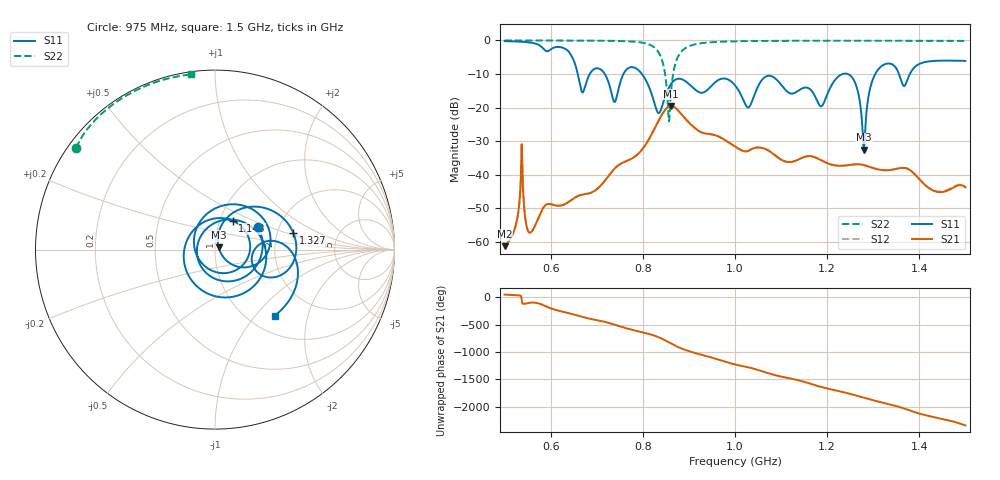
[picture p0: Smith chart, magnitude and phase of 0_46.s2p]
! TOUCHSTONE file generated by CST MICROWAVE STUDIO
! Date and time: Sat Oct 24 10:49:12 2020
! Project name: Scenario_1_Planar_Body_Tissue_Center.cst
! Parameters = {hfat=3; hmuscle=50; hskin=1.5; hgap=25; Wtissue=700; Ltissue=700; L_HA=400; MT=2.54; Rad_Dielectric=30; Rad_Lower=7.3; Rad_Upper=30; a_HA=580; a_WG=246; b_HA=500; b_WG=121; c_HA=0; c_WG=187; d_feed=85; dx1=952.4; h_feed=15; h_lower=18; h_upper=40}
! Header version: 2018
! Port assignment regex: !\s*Touchstone port\s*([0-9]+)\s*=\s*(CST MWS port|CST DS port)\s*([0-9]+|Zmin|Zmax)\s*\(\"(.*)\"\)(\s*mode\s*([0-9]+))?.*
! Touchstone port assignment:
! Touchstone port 1 = CST MWS port 1 ("")
! Touchstone port 2 = CST MWS port 2 ("")
# GHz S DB R 50
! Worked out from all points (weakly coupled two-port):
!   1003 points, 500 MHz to 1.5 GHz, reference 50 ohm
!   highest |S21| = -19.52 dB at 861 MHz (marker M1); lowest = -61.3 dB at 500 MHz (marker M2)
!   lowest |S11| = -32.5 dB at 1.28 GHz (marker M3), VSWR 1.05, Z = 52.1 + j1.22 ohm
!   |S11| at or under -10 dB: 717.4 MHz to 757.9 MHz (40.52 MHz wide, 5.49 % of centre); 798 MHz to 1.233 GHz (435.4 MHz wide, 42.9 % of centre); 1.245 GHz to 1.304 GHz (59.53 MHz wide, 4.67 % of centre)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
!   |S22| runs from -24.1 to 0.0 dB; largest |S21 - S12| = 0.017
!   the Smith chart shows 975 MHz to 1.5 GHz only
!   S11 on the Smith chart (normalised r, x): 975 MHz: 1.56, +0.43; 1.143 GHz: 1.15, +0.38; 1.327 GHz: 2.45, +0.57; 1.5 GHz: 1.30, -1.27
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0.5  -0.20 -122.3  -61.29 48.6  -61.29 48.6  -0.01 151.1
0.537  -0.39 -139.9  -30.90 -33.2  -31.42 2.2  -0.01 148.7
0.555  -0.61 -150.5  -57.28 -99.6  -57.27 -100.3  -0.01 147.4
0.642  -3.94 140.4  -47.83 62.8  -47.83 62.8  -0.03 140.7
0.667  -15.11 135.3  -45.99 4.1  -45.99 4.1  -0.04 138.3
0.716  -9.70 104.1  -42.05 -87.8  -42.05 -87.8  -0.09 132.8
0.751  -12.48 -124.1  -36.81 -174.4  -36.81 -174.4  -0.17 127.2
0.78  -8.02 134.6  -34.87 118.4  -34.87 118.4  -0.36 120.1
0.834  -21.65 -79.8  -23.93 -10.1  -23.93 -10.1  -3.51 82.5
0.861  -13.03 125.8  -19.52 -123.8  -19.52 -123.8  -15.58 -124.7
0.885  -11.58 32.7  -22.19 140.2  -22.19 140.2  -3.10 179.9
0.938  -14.99 171.0  -27.79 6.0  -27.79 6.0  -0.65 151.5
0.975  -11.33 27.9  -29.41 -89.1  -29.41 -89.1  -0.36 143.8
1  -13.37 -50.3  -31.61 -146.9  -31.61 -146.9  -0.26 140.1
1.143  -14.49 58.4  -35.14 -86.9  -35.14 -86.9  -0.10 126.0
1.167  -15.14 -31.7  -34.53 -148.3  -34.53 -148.3  -0.09 124.1
1.249  -10.32 3.3  -37.09 37.7  -37.09 37.7  -0.09 117.9
1.28  -32.53 29.8  -37.14 -36.0  -37.14 -36.0  -0.08 115.5
1.297  -12.44 62.3  -37.91 -74.8  -37.91 -74.8  -0.08 114.2
1.327  -7.01 12.0  -38.68 -136.5  -38.68 -136.5  -0.09 112.0
1.334  -6.87 1.3  -38.64 -150.9  -38.64 -150.9  -0.09 111.4
1.5  -6.09 -47.9  -43.76 179.5  -43.76 179.5  -0.13 97.8
